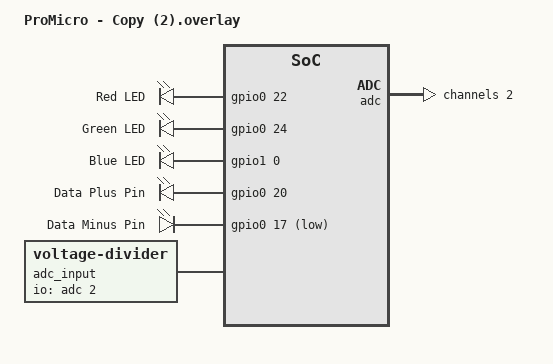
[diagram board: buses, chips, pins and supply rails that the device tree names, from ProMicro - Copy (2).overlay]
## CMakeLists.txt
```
cmake_minimum_required(VERSION 3.20.0)
set(DTC_OVERLAY_FILE "${CMAKE_CURRENT_SOURCE_DIR}/ProMicro.overlay" CACHE STRING "")
find_package(Zephyr REQUIRED HINTS $ENV{ZEPHYR_BASE})

project(Transmitter)

target_sources(app PRIVATE src/main.c)
```

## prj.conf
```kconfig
# Transmitter: SPI slave from RP2040 and ESB PTX to the dongle.
# Release build: no UART/USB CDC logging.
CONFIG_LOG=n
CONFIG_CONSOLE=n
CONFIG_BOOT_BANNER=n
CONFIG_NCS_BOOT_BANNER=n
CONFIG_PRINTK=n
CONFIG_UART_CONSOLE=n
CONFIG_SERIAL=n

# ESB radio link
CONFIG_ESB=y
CONFIG_CLOCK_CONTROL=y
CONFIG_ESB_CLOCK_INIT=y
CONFIG_ESB_PIPE_COUNT=8
CONFIG_ESB_RADIO_IRQ_PRIORITY=0

# Zephyr SPI slave driver on spi1 (DT pinctrl): blocking spi_transceive
# with a fresh reverse-ACK snapshot per transaction (proven MISO path).
CONFIG_SPI=y
CONFIG_NRFX_SPIS=n

# Existing board peripherals
CONFIG_PWM=y
CONFIG_GPIO=y

# Platform
CONFIG_PM_DEVICE=y
CONFIG_POWEROFF=y
CONFIG_SIZE_OPTIMIZATIONS=y
CONFIG_BUILD_OUTPUT_UF2=y
CONFIG_SYSTEM_CLOCK_WAIT_FOR_STABILITY=y
CONFIG_PINCTRL=y
CONFIG_FLASH=y
```

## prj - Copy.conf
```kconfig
CONFIG_LOG=y
CONFIG_ESB=y
CONFIG_ADC=y
CONFIG_GPIO=y
CONFIG_PWM=y
CONFIG_SPI=y
CONFIG_LOG_DEFAULT_LEVEL=3
CONFIG_LOG_BACKEND_UART=y
CONFIG_UART_CONSOLE=y
CONFIG_SERIAL=y
CONFIG_BUILD_OUTPUT_UF2=y
CONFIG_USB_DEVICE_STACK=y
CONFIG_USB_DEVICE_INITIALIZE_AT_BOOT=n
CONFIG_USB_COMPOSITE_DEVICE=n
CONFIG_USB_DEVICE_HID=y
CONFIG_USB_DEVICE_VID=0x1B4F
CONFIG_USB_DEVICE_PID=0x0001  
CONFIG_USB_DEVICE_PRODUCT="A4TECH Transmitter"
CONFIG_USB_DEVICE_MANUFACTURER="Monard"
```

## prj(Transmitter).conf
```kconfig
CONFIG_LOG=y
CONFIG_ESB=y
CONFIG_PWM=y
CONFIG_ADC=y
CONFIG_LOG_DEFAULT_LEVEL=3
CONFIG_LOG_BACKEND_UART=y
CONFIG_UART_CONSOLE=y
CONFIG_SERIAL=y
CONFIG_BUILD_OUTPUT_UF2=y
CONFIG_USB_DEVICE_STACK=y
CONFIG_USB_DEVICE_INITIALIZE_AT_BOOT=n
CONFIG_USB_COMPOSITE_DEVICE=n
CONFIG_USB_DEVICE_HID=y
CONFIG_USB_DEVICE_VID=0x1B4F
CONFIG_USB_DEVICE_PID=0x0001
CONFIG_USB_DEVICE_PRODUCT="A4TECH Transmitter"
CONFIG_USB_DEVICE_MANUFACTURER="Monard"
```

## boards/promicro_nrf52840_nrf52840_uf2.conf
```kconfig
# Release firmware has no CDC debug console.
CONFIG_BOARD_SERIAL_BACKEND_CDC_ACM=n
```

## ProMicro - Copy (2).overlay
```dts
/ {
    gpio-leds {
        compatible = "gpio-leds";
        red_led: red {
            gpios = <&gpio0 22 (GPIO_ACTIVE_HIGH | GPIO_PULL_UP)>;
            label = "Red LED";
        };
        green_led: green {
            gpios = <&gpio0 24 (GPIO_ACTIVE_HIGH | GPIO_PULL_UP)>;
            label = "Green LED";
        };
        blue_led: blue {
            gpios = <&gpio1 0 (GPIO_ACTIVE_HIGH | GPIO_PULL_UP)>;
            label = "Blue LED";
        };
        data_plus_pin: datapluspin {
            gpios = <&gpio0 20 (GPIO_ACTIVE_HIGH)>;
            label = "Data Plus Pin";
        };

        data_minus_pin: dataminuspin {
            gpios = <&gpio0 17 (GPIO_PULL_DOWN | GPIO_ACTIVE_LOW)>;
            label = "Data Minus Pin";
        };
    };
        adc_input: adc-input {
            compatible = "voltage-divider";
            io-channels = <&adc 2>;
            output-ohms = <100000>;
            full-ohms = <1100000>;
        };
 
     /* Define aliases to refer to the nodes above */
    aliases {
        //datapluspin = &data_plus_pin;
        //dataminuspin = &data_minus_pin;
        led-red = &red_led;
        led-green = &green_led;
        led-blue = &blue_led;
        batteryadc = &adc_input;
    };
};
&adc {
    status = "okay";
    #address-cells = <1>;
    #size-cells = <0>;
    
    channel@2 {
        reg = <2>;
        zephyr,gain = "ADC_GAIN_1_6";
        zephyr,reference = "ADC_REF_INTERNAL";
        zephyr,acquisition-time = <ADC_ACQ_TIME_DEFAULT>;
        zephyr,vref-mv = <600>;
        zephyr,input-positive = <2>;  // R1
        zephyr,resolution = <12>; // 12-bit resolution
    };
};
&gpio0 {
    status = "okay";
};
&gpio1 {
    status = "okay";
};
&cryptocell {
    status = "disabled";
};

&acl {
    zephyr,deferred-init;
    status = "disabled";
};


&spi3 {
    status = "disabled";
    pinctrl-0 = <&spi3_default>;
    pinctrl-names = "default";
};

&pinctrl {
    spi3_default: spi3_default {
        group1 {
            psels = <NRF_PSEL(SPIM_SCK, 0, 31)>, <NRF_PSEL(SPIM_MOSI, 0, 17)>;
        };

        group2 {
            psels = <NRF_PSEL(SPIM_MISO, 0, 20)>;
            nordic,drive-mode = <NRF_DRIVE_H0S1>;
        };
    };
};
```

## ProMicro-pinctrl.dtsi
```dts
/*
 * Copyright (c) 2022 Nordic Semiconductor
 * SPDX-License-Identifier: Apache-2.0
 */

&pinctrl {
	uart0_default: uart0_default {
		group1 {
			psels = <NRF_PSEL(UART_TX, 0, 20)>,
				<NRF_PSEL(UART_RTS, 0, 17)>;
		};
		group2 {
			psels = <NRF_PSEL(UART_RX, 0, 24)>,
				<NRF_PSEL(UART_CTS, 0, 22)>;
			bias-pull-up;
		};
	};

	uart0_sleep: uart0_sleep {
		group1 {
			psels = <NRF_PSEL(UART_TX, 0, 20)>,
				<NRF_PSEL(UART_RX, 0, 24)>,
				<NRF_PSEL(UART_RTS, 0, 17)>,
				<NRF_PSEL(UART_CTS, 0, 22)>;
			low-power-enable;
		};
	};

	i2c0_default: i2c0_default {
		group1 {
			psels = <NRF_PSEL(TWIM_SDA, 0, 26)>,
				<NRF_PSEL(TWIM_SCL, 0, 27)>;
		};
	};

	i2c0_sleep: i2c0_sleep {
		group1 {
			psels = <NRF_PSEL(TWIM_SDA, 0, 26)>,
				<NRF_PSEL(TWIM_SCL, 0, 27)>;
			low-power-enable;
		};
	};

	i2c1_default: i2c1_default {
		group1 {
			psels = <NRF_PSEL(TWIM_SDA, 0, 30)>,
				<NRF_PSEL(TWIM_SCL, 0, 31)>;
		};
	};

	i2c1_sleep: i2c1_sleep {
		group1 {
			psels = <NRF_PSEL(TWIM_SDA, 0, 30)>,
				<NRF_PSEL(TWIM_SCL, 0, 31)>;
			low-power-enable;
		};
	};

	pwm0_default: pwm0_default {
		group1 {
			psels = <NRF_PSEL(PWM_OUT0, 0, 8)>,
				<NRF_PSEL(PWM_OUT1, 1, 9)>,
				<NRF_PSEL(PWM_OUT2, 0, 12)>;
			nordic,invert;
		};
	};

	pwm0_sleep: pwm0_sleep {
		group1 {
			psels = <NRF_PSEL(PWM_OUT0, 0, 8)>,
				<NRF_PSEL(PWM_OUT1, 1, 9)>,
				<NRF_PSEL(PWM_OUT2, 0, 12)>;
			low-power-enable;
		};
	};

	spi0_default: spi0_default {
		group1 {
			psels = <NRF_PSEL(SPIM_SCK, 0, 27)>,
				<NRF_PSEL(SPIM_MOSI, 0, 26)>,
				<NRF_PSEL(SPIM_MISO, 1, 10)>;
		};
	};

	spi0_sleep: spi0_sleep {
		group1 {
			psels = <NRF_PSEL(SPIM_SCK, 0, 27)>,
				<NRF_PSEL(SPIM_MOSI, 0, 26)>,
				<NRF_PSEL(SPIM_MISO, 1, 10)>;
			low-power-enable;
		};
	};

	spi1_default: spi1_default {
		group1 {
			psels = <NRF_PSEL(SPIM_SCK, 0, 31)>,
				<NRF_PSEL(SPIM_MOSI, 0, 30)>,
				<NRF_PSEL(SPIM_MISO, 1, 13)>;
		};
	};

	spi1_sleep: spi1_sleep {
		group1 {
			psels = <NRF_PSEL(SPIM_SCK, 0, 31)>,
				<NRF_PSEL(SPIM_MOSI, 0, 30)>,
				<NRF_PSEL(SPIM_MISO, 1, 13)>;
			low-power-enable;
		};
	};
	spi3_default: spi1_default {
		group1 {
			psels = <NRF_PSEL(SPIM_SCK, 0, 31)>,
				<NRF_PSEL(SPIM_MOSI, 0, 30)>,
				<NRF_PSEL(SPIM_MISO, 1, 13)>;
		};
	};

	spi3_sleep: spi1_sleep {
		group1 {
			psels = <NRF_PSEL(SPIM_SCK, 0, 31)>,
				<NRF_PSEL(SPIM_MOSI, 0, 30)>,
				<NRF_PSEL(SPIM_MISO, 1, 13)>;
			low-power-enable;
		};
	};

};
```

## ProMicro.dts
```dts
/*
 * Copyright (c) 2018-2023 Nordic Semiconductor ASA
 * Copyright (c) 2017 Linaro Limited
 *
 * SPDX-License-Identifier: Apache-2.0
 */

/dts-v1/;
#include <nordic/nrf52840_qiaa.dtsi>
#include "nrf52840dongle_nrf52840-pinctrl.dtsi"
#include <zephyr/dt-bindings/input/input-event-codes.h>

/ {
	model = "Nordic nRF52840 Dongle NRF52840";
	compatible = "nordic,nrf52840-dongle-nrf52840";

	chosen {
		zephyr,sram = &sram0;
		zephyr,flash = &flash0;
		zephyr,code-partition = &slot0_partition;
		zephyr,ieee802154 = &ieee802154;
	};

	/* leds {
		compatible = "gpio-leds";
		led0_green: led_0 {
			gpios = <&gpio0 6 GPIO_ACTIVE_LOW>;
			label = "Green LED 0";
		};
		led1_red: led_1 {
			gpios = <&gpio0 8 GPIO_ACTIVE_LOW>;
			label = "Red LED 1";
		};
		led1_green: led_2 {
			gpios = <&gpio1 9 GPIO_ACTIVE_LOW>;
			label = "Green LED 1";
		};
		led1_blue: led_3 {
			gpios = <&gpio0 12 GPIO_ACTIVE_LOW>;
			label = "Blue LED 1";
		};
	};  */

	pwmleds {
		compatible = "pwm-leds";
		red_pwm_led: pwm_led_0 {
			pwms = <&pwm0 0 PWM_MSEC(20) PWM_POLARITY_NORMAL>;
		};
		green_pwm_led: pwm_led_1 {
			pwms = <&pwm0 1 PWM_MSEC(20) PWM_POLARITY_NORMAL>;
		};
		blue_pwm_led: pwm_led_2 {
			pwms = <&pwm0 2 PWM_MSEC(20) PWM_POLARITY_NORMAL>;
		};
	};

	buttons {
		compatible = "gpio-keys";
		button0: button_0 {
			gpios = <&gpio1 6 (GPIO_PULL_UP | GPIO_ACTIVE_LOW)>;
			label = "Push button switch 0";
			zephyr,code = <INPUT_KEY_0>;
		};
	};

	/* These aliases are provided for compatibility with samples */
/* 	aliases {
		sw0 = &button0;
		led0 = &led0_green;
		led1 = &led1_red;
		led2 = &led1_green;
		led3 = &led1_blue;
		led0-green = &led0_green;
		led1-red   = &led1_red;
		led1-green = &led1_green;
		led1-blue  = &led1_blue; 
		pwm-led0 = &red_pwm_led;
		pwm-led1 = &green_pwm_led;
		pwm-led2 = &blue_pwm_led;
		red-pwm-led = &red_pwm_led;
		green-pwm-led = &green_pwm_led;
		blue-pwm-led = &blue_pwm_led;
		mcuboot-button0 = &button0;
		mcuboot-led0 = &led0_green;
		watchdog0 = &wdt0;
	}; */
};

&reg0 {
	status = "okay";
};

&reg1 {
	regulator-initial-mode = <NRF5X_REG_MODE_DCDC>;
};

&adc {
	status = "okay";
};

&gpiote {
	status = "okay";
};

&uicr {
	nfct-pins-as-gpios;
	gpio-as-nreset;
};

&gpio0 {
	status = "okay";
};

&gpio1 {
	status = "okay";
};

&uart0 {
	compatible = "nordic,nrf-uarte";
	status = "okay";
	current-speed = <115200>;
	pinctrl-0 = <&uart0_default>;
	pinctrl-1 = <&uart0_sleep>;
	pinctrl-names = "default", "sleep";
};

&i2c0 {
	compatible = "nordic,nrf-twi";
	status = "okay";
	pinctrl-0 = <&i2c0_default>;
	pinctrl-1 = <&i2c0_sleep>;
	pinctrl-names = "default", "sleep";
};

&i2c1 {
	compatible = "nordic,nrf-twi";
	/* Cannot be used together with spi1. */
	/* status = "okay"; */
	pinctrl-0 = <&i2c1_default>;
	pinctrl-1 = <&i2c1_sleep>;
	pinctrl-names = "default", "sleep";
};

&pwm0 {
	status = "okay";
	pinctrl-0 = <&pwm0_default>;
	pinctrl-1 = <&pwm0_sleep>;
	pinctrl-names = "default", "sleep";
};
 &adc {
    status = "okay";
    #address-cells = <1>;
    #size-cells = <0>;
    
    channel@2 {
        reg = <2>;
        zephyr,gain = "ADC_GAIN_1_4";
        zephyr,reference = "ADC_REF_INTERNAL";
        zephyr,acquisition-time = <ADC_ACQ_TIME_DEFAULT>;
        zephyr,resolution = <12>; // 14-bit resolution
        //zephyr,oversampling = <6>;
        zephyr,input-positive = <2>;
    };
}; 

/*
 * By default, not adding all available SPI instances (spi2, spi3) due to
 * limited GPIOs available on dongle board.
 */
&spi0 {
	compatible = "nordic,nrf-spi";
	/* Cannot be used together with i2c0. */
	/* status = "okay"; */
	pinctrl-0 = <&spi0_default>;
	pinctrl-1 = <&spi0_sleep>;
	pinctrl-names = "default", "sleep";
};

&spi1 {
	compatible = "nordic,nrf-spi";
	status = "okay";
	pinctrl-0 = <&spi1_default>;
	pinctrl-1 = <&spi1_sleep>;
	pinctrl-names = "default", "sleep";
};

&spi3 {
    status = "okay";
    pinctrl-0 = <&spi3_default>;
    pinctrl-names = "default";
    wakeup-source;
};

&ieee802154 {
	status = "okay";
};

/* Include flash partition table.
 * Two partition tables are available:
 * fstab-stock		-compatible with Nordic nRF5 bootloader, default
 * fstab-debugger	-to use an external debugger, w/o the nRF5 bootloader
 */
#include "fstab-stock.dtsi"

zephyr_udc0: &usbd {
	compatible = "nordic,nrf-usbd";
	status = "okay";
};

#include <../boards/common/usb/cdc_acm_serial.dtsi>
```

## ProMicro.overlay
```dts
/*
 * Pro Micro nRF52840 overlay — Wireless Keyboard Transmitter
 * Adds: SPIS1 (SPI slave on instance 1), battery ADC channel, 3-channel RGB PWM
 * Disables: USB (not used by this SPI+ESB project)
 */

#include <zephyr/dt-bindings/adc/adc.h>

/* The transmitter USB port is a CDC ACM debug console. */
&usbd {
	status = "okay";
};

/* Overwrite board's single-channel pwm0 pinctrl with 3-channel RGB */
&pinctrl {
	pwm0_default: pwm0_default {
		group1 {
			psels = <NRF_PSEL(PWM_OUT0, 0, 24)>,  /* P0.24 Red   */
				<NRF_PSEL(PWM_OUT1, 1, 0)>,   /* P1.00 Green */
				<NRF_PSEL(PWM_OUT2, 0, 11)>;  /* P0.11 Blue  */
		};
	};

	pwm0_sleep: pwm0_sleep {
		group1 {
			psels = <NRF_PSEL(PWM_OUT0, 0, 24)>,
				<NRF_PSEL(PWM_OUT1, 1, 0)>,
				<NRF_PSEL(PWM_OUT2, 0, 11)>;
			low-power-enable;
		};
	};

	/* SPI slave pinctrl — pins match RP2040 SPI master wiring:
	 *   SCK  = P0.17  (RP2040 GP6)
	 *   MOSI = P0.20  (RP2040 GP7)
	 *   CSN  = P0.22  (RP2040 GP9)  <-- hardware chip-select, frames the transfer
	 *   MISO = P0.08  (RP2040 GP8, unused/write-only link, just parked here)
	 *
	 * IMPORTANT: nRF52840 instance 3 (0x4002F000) is SPIM3-only — NO SPIS support.
	 * We use SPIS1 (instance 1, 0x40004000) instead. i2c1 is disabled below
	 * to free the shared instance.
	 */
	spis1_default: spis1_default {
		group1 {
			psels = <NRF_PSEL(SPIS_SCK, 0, 17)>,
				<NRF_PSEL(SPIS_MOSI, 0, 20)>,
				<NRF_PSEL(SPIS_MISO, 0, 8)>,
				<NRF_PSEL(SPIS_CSN, 0, 22)>;
		};
	};

	spis1_sleep: spis1_sleep {
		group1 {
			psels = <NRF_PSEL(SPIS_SCK, 0, 17)>,
				<NRF_PSEL(SPIS_MOSI, 0, 20)>,
				<NRF_PSEL(SPIS_MISO, 0, 8)>,
				<NRF_PSEL(SPIS_CSN, 0, 22)>;
			low-power-enable;
		};
	};
};

/* Disable i2c1 to free shared instance 1 for SPIS1.
	 * This project does not use I2C1. */
&i2c1 {
	status = "disabled";
};

/* SPIS1 slave — instance 1 (0x40004000) supports SPIS, unlike SPIM3.
	 * Same physical pins as before (PSEL routes any GPIO to any instance). */
&spi1 {
	compatible = "nordic,nrf-spis";
	status = "okay";
	pinctrl-0 = <&spis1_default>;
	pinctrl-1 = <&spis1_sleep>;
	pinctrl-names = "default", "sleep";
	def-char = <0x00>;
};

/* Battery voltage divider: Vbat -> 200kΩ -> ADC AIN0 -> 100kΩ -> GND
 * AIN0 = P0.02 (SAADC CH0, positive input 0)
 * Divider ratio: 200k/(200k+100k) = 2/3, so output_ohms/full_ohms = 200k/300k
 */
&adc {
	status = "okay";
	#address-cells = <1>;
	#size-cells = <0>;
	channel@0 {
		reg = <0>;
		zephyr,gain = "ADC_GAIN_1_6";
		zephyr,reference = "ADC_REF_VDD_1_4";
		zephyr,acquisition-time = <ADC_ACQ_TIME_DEFAULT>;
		zephyr,resolution = <10>;
		zephyr,oversampling = <0>;
		zephyr,input-positive = <0>;
		zephyr,vref-mv = <3300>;   /* required for VDD-relative reference to convert correctly */
	};
};

/ {
	/* RGB PWM LED node (used by pwm_dt_spec in main.c) */
	pwmleds {
		compatible = "pwm-leds";
		red_pwm: pwm_led_0 {
			pwms = <&pwm0 0 PWM_MSEC(20) PWM_POLARITY_NORMAL>;
			label = "Red PWM LED";
		};
		green_pwm: pwm_led_1 {
			pwms = <&pwm0 1 PWM_MSEC(20) PWM_POLARITY_NORMAL>;
			label = "Green PWM LED";
		};
		blue_pwm: pwm_led_2 {
			pwms = <&pwm0 2 PWM_MSEC(20) PWM_POLARITY_NORMAL>;
			label = "Blue PWM LED";
		};
	};

	/* Battery voltage divider for io-channels */
	vbatt: vbatt {
		compatible = "voltage-divider";
		io-channels = <&adc 0>;
		output-ohms = <200000>;   /* 200kΩ high-side */
		full-ohms = <300000>;      /* 200k + 100k total */
	};

	aliases {
		/* Keep board aliases, add battery */
		battery = &vbatt;
	};
};
```

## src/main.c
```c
/*
 * Copyright (c) 2024 Monard2033
 * SPDX-License-Identifier: Apache-2.0
 *
 * Minimal transparent bridge:
 *   complete 12-byte SPI frame -> unchanged ESB frame -> hardware ACK.
 *
 * The SPI slave layer uses the Zephyr spi_transceive driver with a fresh
 * reverse-ACK snapshot armed before every transaction. This is the reverse
 * (MISO) mechanism hardware-proven during the August 19 OTA sessions; the
 * direct-nrfx double-buffered rewrite never clocked a single byte onto MISO
 * (see the RP2040 [MISO] witness capture, 2026-08-22).
 */

#include <errno.h>
#include <string.h>

#include <esb.h>
#include <hal/nrf_gpio.h>
#include <nrfx.h>
#include <zephyr/device.h>
#include <zephyr/drivers/spi.h>
#include <zephyr/kernel.h>
#include <zephyr/logging/log.h>
#include <zephyr/sys/atomic.h>
#include <zephyr/sys/poweroff.h>
#include <zephyr/sys/util.h>

LOG_MODULE_REGISTER(transmitter, LOG_LEVEL_INF);

#define LINK_MAGIC           0xA5U
#define LINK_VERSION         0x03U
#define LINK_FRAME_SIZE      12U
#define LINK_TYPE_CONTROL    0x03U
#define LINK_TYPE_DFU_STATUS 0x13U
#define LINK_CONTROL_SYSTEM_OFF 0x01U
#define LINK_CONTROL_POLL_ACK   0x02U
#define LINK_ACK_MAGIC       0x5AU
#define LINK_ACK_TYPE_DFU    0x02U
#define LINK_RF_CHANNEL      90U
/* DFU OTA command range (0x10..0x1F). DFU frames are strictly ordered,
 * opaque protocol data owned by the RP2040 DFU handler; the RP2040 already
 * replays the stored reply for redelivered commands, so suppressing a
 * repeated DFU frame here would silently corrupt the OTA staging stream. */
#define LINK_TYPE_DFU_FIRST  0x10U
#define LINK_TYPE_DFU_LAST   0x1FU
#define REPORT_QUEUE_DEPTH   256U
#define ESB_EVENT_TIMEOUT_US 15000U
#define RETRY_BACKOFF_US     50U
#define ESB_MAX_TX_RETRIES   5U
#define RETRY_BACKOFF_MS     1U
#define POWEROFF_DRAIN_TIMEOUT_MS 50U
#define FALLBACK_IDLE_TIMEOUT_MS (5U * 60U * 1000U)
#define SPI_CSN_PIN          NRF_GPIO_PIN_MAP(0, 22)
#define CSN_SETTLE_TIMEOUT_MS 50U

struct link_frame {
	uint8_t magic;
	uint8_t version;
	uint8_t type;
	uint8_t sequence;
	uint8_t data[8];
} __packed;

BUILD_ASSERT(sizeof(struct link_frame) == LINK_FRAME_SIZE);

K_MSGQ_DEFINE(report_queue, sizeof(struct link_frame), REPORT_QUEUE_DEPTH,
	      sizeof(uint32_t));
K_MSGQ_DEFINE(dfu_miso_queue, sizeof(struct link_frame), 64, 4);
static K_SEM_DEFINE(esb_tx_done, 0, 1);
static K_SEM_DEFINE(esb_started, 0, 1);
static K_SEM_DEFINE(poweroff_requested, 0, 1);

static struct esb_config esb_config = ESB_DEFAULT_CONFIG;
static struct esb_payload esb_tx_payload;
static struct esb_payload esb_rx_payload;
static atomic_t esb_last_tx_succeeded;

static struct k_spinlock spi_ack_lock;
static struct link_frame spi_ack_response __aligned(4) = {
	.magic = LINK_ACK_MAGIC,
	.version = LINK_VERSION,
};

static atomic_t spi_frames;
static atomic_t spi_errors;
static atomic_t spi_duplicates;
static atomic_t report_queue_overruns;
static atomic_t esb_tx_successes;
static atomic_t esb_tx_failures;
static atomic_t esb_tx_timeouts;
static atomic_t esb_tx_dropped;
static atomic_t radio_frame_in_flight;
static atomic_t poweroff_pending;
static atomic_t last_spi_activity_uptime_ms;

static struct link_frame last_spi_frame;
static bool last_spi_frame_valid;

static const struct device *const spi_device = DEVICE_DT_GET(DT_NODELABEL(spi1));
static const struct spi_config spi_slave_config = {
	.operation = SPI_OP_MODE_SLAVE | SPI_WORD_SET(8) | SPI_TRANSFER_MSB,
	.slave = 0,
};

static void transmitter_esb_event_handler(const struct esb_evt *event)
{
	switch (event->evt_id) {
	case ESB_EVENT_TX_SUCCESS:
		atomic_set(&esb_last_tx_succeeded, 1);
		atomic_inc(&esb_tx_successes);
		k_sem_give(&esb_tx_done);
		break;
	case ESB_EVENT_TX_FAILED:
		atomic_set(&esb_last_tx_succeeded, 0);
		atomic_inc(&esb_tx_failures);
		k_sem_give(&esb_tx_done);
		break;
	case ESB_EVENT_RX_RECEIVED:
		while (esb_read_rx_payload(&esb_rx_payload) == 0) {
			struct link_frame ack;

			if (esb_rx_payload.length != sizeof(ack)) {
				continue;
			}

			memcpy(&ack, esb_rx_payload.data, sizeof(ack));
			if (ack.magic != LINK_ACK_MAGIC ||
			    ack.version != LINK_VERSION) {
				continue;
			}

			if (ack.type == LINK_ACK_TYPE_DFU) {
				k_msgq_put(&dfu_miso_queue, &ack, K_NO_WAIT);
			} else {
				k_spinlock_key_t key = k_spin_lock(&spi_ack_lock);
				memcpy(&spi_ack_response, &ack, sizeof(ack));
				k_spin_unlock(&spi_ack_lock, key);
			}
		}
		break;
	default:
		break;
	}
}

static void spi_ack_snapshot(struct link_frame *output)
{
	if (k_msgq_get(&dfu_miso_queue, output, K_NO_WAIT) == 0) {
		return;
	}

	k_spinlock_key_t key = k_spin_lock(&spi_ack_lock);
	memcpy(output, &spi_ack_response, sizeof(*output));
	k_spin_unlock(&spi_ack_lock, key);
}

static int esb_initialize(void)
{
	static const uint8_t base_address_0[4] = {
		0xE7, 0xE7, 0xE7, 0xE7
	};
	static const uint8_t base_address_1[4] = {
		0xC2, 0xC2, 0xC2, 0xC2
	};
	static const uint8_t address_prefixes[8] = {
		0xE7, 0xC2, 0xC3, 0xC4, 0xC5, 0xC6, 0xC7, 0xC8
	};
	int err;

	esb_config.protocol = ESB_PROTOCOL_ESB_DPL;
	esb_config.mode = ESB_MODE_PTX;
	esb_config.bitrate = ESB_BITRATE_2MBPS;
	esb_config.tx_output_power = ESB_TX_POWER_8DBM;
	esb_config.retransmit_delay = 450;
	esb_config.retransmit_count = 6;
	esb_config.payload_length = sizeof(struct link_frame);
	esb_config.selective_auto_ack = true;
	esb_config.use_fast_ramp_up = true;
	esb_config.event_handler = transmitter_esb_event_handler;

	err = esb_init(&esb_config);
	if (err != 0) return err;
	err = esb_set_base_address_0(base_address_0);
	if (err != 0) return err;
	err = esb_set_base_address_1(base_address_1);
	if (err != 0) return err;
	err = esb_set_prefixes(address_prefixes, ARRAY_SIZE(address_prefixes));
	if (err != 0) return err;
	return esb_set_rf_channel(LINK_RF_CHANNEL);
}

static int esb_send_once(const struct link_frame *frame)
{
	k_sem_reset(&esb_tx_done);
	atomic_set(&esb_last_tx_succeeded, 0);
	esb_flush_tx();

	esb_tx_payload.length = sizeof(*frame);
	esb_tx_payload.pipe = 0;
	esb_tx_payload.noack = false;
	memcpy(esb_tx_payload.data, frame, sizeof(*frame));

	int err = esb_write_payload(&esb_tx_payload);
	if (err != 0) return err;

	err = k_sem_take(&esb_tx_done, K_USEC(ESB_EVENT_TIMEOUT_US));
	if (err != 0) {
		atomic_inc(&esb_tx_timeouts);
		esb_flush_tx();
		return -ETIMEDOUT;
	}
	return atomic_get(&esb_last_tx_succeeded) != 0 ? 0 : -EIO;
}

static void radio_thread(void)
{
	struct link_frame frame;

	k_sem_take(&esb_started, K_FOREVER);
	for (;;) {
		k_msgq_get(&report_queue, &frame, K_FOREVER);
		if (atomic_get(&poweroff_pending) != 0) {
			atomic_inc(&esb_tx_dropped);
			continue;
		}

		atomic_set(&radio_frame_in_flight, 1);

		/* Bounded retry loop: max ESB_MAX_TX_RETRIES attempts (each attempt includes
		 * 6 ESB hardware retransmits). If Receiver is disconnected or unreachable,
		 * drop frame after max attempts to prevent 100% CPU lock and battery drain. */
		uint32_t retries = 0;
		while (esb_send_once(&frame) != 0) {
			retries++;
			if (retries >= ESB_MAX_TX_RETRIES ||
			    atomic_get(&poweroff_pending) != 0) {
				atomic_inc(&esb_tx_dropped);
				break;
			}
			k_sleep(K_MSEC(RETRY_BACKOFF_MS));
		}
		atomic_set(&radio_frame_in_flight, 0);
	}
}

K_THREAD_DEFINE(radio_thread_id, 1536, radio_thread,
		NULL, NULL, NULL, 5, 0, 0);

/* SPI slave thread: one blocking transaction at a time, arming a FRESH
 * reverse-ACK snapshot before each one so the RP2040 reads the newest LED
 * or DFU state on the very next transfer. This mirrors the hardware-proven
 * August 19 mechanism. */
static void spi_slave_thread(void)
{
	static struct link_frame spi_tx __aligned(4);
	static struct link_frame spi_rx __aligned(4);

	for (;;) {
		spi_ack_snapshot(&spi_tx);

		struct spi_buf tx_buffer = {
			.buf = &spi_tx,
			.len = sizeof(spi_tx),
		};
		const struct spi_buf_set tx = {
			.buffers = &tx_buffer,
			.count = 1,
		};
		struct spi_buf rx_buffer = {
			.buf = &spi_rx,
			.len = sizeof(spi_rx),
		};
		const struct spi_buf_set rx = {
			.buffers = &rx_buffer,
			.count = 1,
		};

		memset(&spi_rx, 0, sizeof(spi_rx));
		int err = spi_transceive(spi_device, &spi_slave_config, &tx, &rx);
		if (err < 0) {
			atomic_inc(&spi_errors);
			k_yield();
			continue;
		}

		/* Zephyr slave mode returns the number of received 8-bit frames. */
		if (err != sizeof(spi_rx)) {
			atomic_inc(&spi_errors);
			continue;
		}

		if (spi_rx.magic != LINK_MAGIC ||
		    spi_rx.version != LINK_VERSION) {
			atomic_inc(&spi_errors);
			continue;
		}

		atomic_set(&last_spi_activity_uptime_ms, (atomic_val_t)k_uptime_get_32());

		/* DFU commands are never suppressed: the RP2040 DFU handler owns
		 * all replay/duplicate policy for the OTA stream. */
		if (spi_rx.type >= LINK_TYPE_DFU_FIRST &&
		    spi_rx.type <= LINK_TYPE_DFU_LAST) {
			if (k_msgq_put(&report_queue, &spi_rx, K_NO_WAIT) != 0) {
				atomic_inc(&report_queue_overruns);
				continue;
			}
			memcpy(&last_spi_frame, &spi_rx, sizeof(spi_rx));
			last_spi_frame_valid = true;
			atomic_inc(&spi_frames);
			continue;
		}

		if (last_spi_frame_valid &&
		    memcmp(&spi_rx, &last_spi_frame, sizeof(spi_rx)) == 0) {
			/* RP2040 safety copy with the same sequence: suppress
			 * before ESB; HID semantics remain untouched. */
			atomic_inc(&spi_duplicates);
			continue;
		}

		if (spi_rx.type == LINK_TYPE_CONTROL &&
		    spi_rx.data[0] == LINK_CONTROL_SYSTEM_OFF) {
			memcpy(&last_spi_frame, &spi_rx, sizeof(spi_rx));
			last_spi_frame_valid = true;
			atomic_inc(&spi_frames);
			atomic_set(&poweroff_pending, 1);
			k_sem_give(&poweroff_requested);
			continue;
		}

		if (k_msgq_put(&report_queue, &spi_rx, K_NO_WAIT) != 0) {
			atomic_inc(&report_queue_overruns);
			continue;
		}
		memcpy(&last_spi_frame, &spi_rx, sizeof(spi_rx));
		last_spi_frame_valid = true;
		atomic_inc(&spi_frames);
	}
}

K_THREAD_DEFINE(spi_slave_thread_id, 2048, spi_slave_thread,
		NULL, NULL, NULL, 4, 0, 0);

#if CONFIG_LOG
static void status_thread(void)
{
	for (;;) {
		k_sleep(K_SECONDS(5));
		LOG_INF("SPI=%ld err=%ld duplicates=%ld queue_full=%ld ESB_ok=%ld fail=%ld timeout=%ld dropped=%ld",
			(long)atomic_get(&spi_frames),
			(long)atomic_get(&spi_errors),
			(long)atomic_get(&spi_duplicates),
			(long)atomic_get(&report_queue_overruns),
			(long)atomic_get(&esb_tx_successes),
			(long)atomic_get(&esb_tx_failures),
			(long)atomic_get(&esb_tx_timeouts),
			(long)atomic_get(&esb_tx_dropped));
	}
}

K_THREAD_DEFINE(status_thread_id, 1024, status_thread,
		NULL, NULL, NULL, 7, 0, 0);
#endif

int main(void)
{
	int err = esb_initialize();
	if (err != 0) return err;

	if (!device_is_ready(spi_device)) {
		LOG_ERR("SPI slave device is not ready");
		return -ENODEV;
	}
	atomic_set(&last_spi_activity_uptime_ms, (atomic_val_t)k_uptime_get_32());
	k_sem_give(&esb_started);

	for (;;) {
		int ret = k_sem_take(&poweroff_requested, K_SECONDS(1));
		if (ret != 0) {
			/* No explicit poweroff requested: check fallback idle timeout (5 minutes) */
			uint32_t now = k_uptime_get_32();
			uint32_t last = (uint32_t)atomic_get(&last_spi_activity_uptime_ms);
			if ((now - last) >= FALLBACK_IDLE_TIMEOUT_MS) {
				LOG_INF("Fallback idle timeout expired (%u ms without SPI activity); entering System OFF",
					FALLBACK_IDLE_TIMEOUT_MS);
				atomic_set(&poweroff_pending, 1);
			} else {
				continue;
			}
		}

		if (atomic_get(&poweroff_pending) == 0) {
			continue;
		}

		/* Give RP2040's same-sequence SPI safety copy time to complete, then
		 * wait only for already-accepted urgent ESB traffic up to POWEROFF_DRAIN_TIMEOUT_MS. */
		k_sleep(K_MSEC(2));
		int64_t drain_start = k_uptime_get();
		while ((k_msgq_num_used_get(&report_queue) != 0U ||
		        atomic_get(&radio_frame_in_flight) != 0) &&
		       (k_uptime_get() - drain_start < (int64_t)POWEROFF_DRAIN_TIMEOUT_MS)) {
			k_sleep(K_MSEC(1));
		}

		/* If timeout hit, force purge queue and clear in-flight flag to prevent deadlock */
		if (k_msgq_num_used_get(&report_queue) != 0U ||
		    atomic_get(&radio_frame_in_flight) != 0) {
			LOG_WRN("Poweroff drain timeout (%u ms) expired; purging queue and forcing radio release",
				POWEROFF_DRAIN_TIMEOUT_MS);
			k_msgq_purge(&report_queue);
			atomic_set(&radio_frame_in_flight, 0);
		}

		/* Check CSN pin (P0.22) state before arming SENSE_LOW to prevent instant wake-up loop.
		 * If RP2040 is holding CSN LOW, wait up to CSN_SETTLE_TIMEOUT_MS for it to return HIGH. */
		nrf_gpio_cfg_input(SPI_CSN_PIN, NRF_GPIO_PIN_PULLUP);
		uint32_t csn_wait_ms = 0;
		while (nrf_gpio_pin_read(SPI_CSN_PIN) == 0) {
			k_sleep(K_MSEC(1));
			csn_wait_ms++;
			if (csn_wait_ms >= CSN_SETTLE_TIMEOUT_MS) {
				LOG_WRN("CSN (P0.22) held LOW for >%u ms; aborting poweroff to prevent wake loop",
					CSN_SETTLE_TIMEOUT_MS);
				break;
			}
		}

		if (nrf_gpio_pin_read(SPI_CSN_PIN) == 0) {
			LOG_ERR("CSN pin still LOW; cancelling poweroff");
			atomic_set(&poweroff_pending, 0);
			continue;
		}

		esb_disable();

		/* Final verification of CSN level prior to entering System OFF */
		if (nrf_gpio_pin_read(SPI_CSN_PIN) == 0) {
			LOG_WRN("CSN went LOW immediately before poweroff; re-enabling ESB");
			atomic_set(&poweroff_pending, 0);
			esb_initialize();
			continue;
		}

		nrf_gpio_cfg_sense_input(SPI_CSN_PIN,
					 NRF_GPIO_PIN_PULLUP,
					 NRF_GPIO_PIN_SENSE_LOW);
		LOG_INF("Transmitter entering System OFF (sense wake on CSN LOW)");
		sys_poweroff();
	}
}
```

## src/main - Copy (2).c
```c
/*
 * Copyright (c) 2024 Monard2033
 * SPDX-License-Identifier: Apache-2.0
 */

#include <zephyr/kernel.h>
#include <zephyr/drivers/gpio.h>
#include <zephyr/pm/pm.h>
#include <zephyr/pm/device.h>
#include <zephyr/pm/state.h>
#include <zephyr/pm/policy.h>
#include <zephyr/logging/log.h>
#include <zephyr/device.h>
#include <esb.h>
#include <zephyr/sys_clock.h>
#include <string.h>
#include <nrfx.h>
#include <zephyr/drivers/adc.h>
#include <zephyr/usb/usb_device.h>
#include <zephyr/usb/class/usb_hid.h>

LOG_MODULE_REGISTER(transmitter, LOG_LEVEL_INF);

void sample_and_transmit(struct esb_evt const *event);
void enter_low_power(struct k_timer *dummy);
void update_sleep_timeout(void);
void led_timer_handler(struct k_timer *timer);
void check_battery_status(void);
void battery_warning_timer_handler(struct k_timer *timer);
void battery_pulse_timer_handler(struct k_timer *timer);
static void charging_pulse_timer_handler(struct k_timer *timer);
static void usb_status_cb(enum usb_dc_status_code status, const uint8_t *param);
static const struct device *hid_dev;

/* --- LED and Timer Definitions --- */


/* --- LED Definitions --- */

static const struct gpio_dt_spec data_plus = GPIO_DT_SPEC_GET(DT_N_NODELABEL_data_plus_pin,gpios);
static const struct gpio_dt_spec data_minus = GPIO_DT_SPEC_GET(DT_N_NODELABEL_data_minus_pin,gpios);
static const struct adc_dt_spec adc_channel = ADC_DT_SPEC_GET(DT_PATH(adc_input));
static const struct gpio_dt_spec red_led = GPIO_DT_SPEC_GET(DT_N_NODELABEL_red_led,gpios);
static const struct gpio_dt_spec green_led = GPIO_DT_SPEC_GET(DT_N_NODELABEL_green_led,gpios);
static const struct gpio_dt_spec blue_led = GPIO_DT_SPEC_GET(DT_N_NODELABEL_blue_led,gpios);

enum led_color
{
    LED_RED,
    LED_GREEN,
    LED_BLUE,
    LED_OFF,
    LED_YELLOW,
    LED_ORANGE
};
void set_led_status(enum led_color color) {
    gpio_pin_set_dt(&red_led, (color == LED_RED) ? 1 : 0);
    gpio_pin_set_dt(&green_led, (color == LED_GREEN) ? 1 : 0);
    gpio_pin_set_dt(&blue_led, (color == LED_BLUE) ? 1 : 0);
}

void blink_led(enum led_color color, int duration_ms, int blink_count) {
    for (int i = 0; i < blink_count; i++) {
        set_led_status(color);
        k_sleep(K_MSEC(duration_ms));
        set_led_status(LED_OFF);
        k_sleep(K_MSEC(duration_ms));
    }
}

static K_TIMER_DEFINE(led_timer, led_timer_handler, NULL);
static K_TIMER_DEFINE(inactivity_timer, NULL, enter_low_power);
static K_TIMER_DEFINE(battery_warning_timer, battery_warning_timer_handler, NULL);
static K_TIMER_DEFINE(battery_pulse_timer, battery_pulse_timer_handler, NULL);
static K_TIMER_DEFINE(charging_pulse_timer, charging_pulse_timer_handler, NULL);

/* --- ESB and Power Management --- */
static struct esb_payload tx_payload;
static struct esb_config esb_config = ESB_DEFAULT_CONFIG;
#define ERROR_PAYLOAD_FLAG 0x80

/* --- USB HID Configuration --- */
static K_SEM_DEFINE(usb_configured_sem, 0, 1);
static volatile bool usb_configured = false;
#define REPORT_ID 1
#define KEY_CTRL_CODE_MIN 224
#define KEY_CTRL_CODE_MAX 231
#define KEY_CODE_MIN 0
#define KEY_CODE_MAX 101
#define KEY_PRESS_MAX 6
#define INPUT_REPORT_KEYS_MAX_LEN (1 + 1 + KEY_PRESS_MAX)

/* --- Hysteresis Sleep Configuration --- */
#define BASE_TIMEOUT K_SECONDS(60)
#define GRACE_PERIOD_MS 2000
static k_timeout_t current_timeout = BASE_TIMEOUT;
static int wakeup_count = 0;
static int64_t last_sleep_time = 0;

/* --- Battery Configuration --- */
#define BATTERY_CRITICAL_THRESHOLD 15
#define BATTERY_MAX_VOLTAGE 4200
#define BATTERY_MIN_VOLTAGE 3300
#define CHARGING_THRESHOLD_DELTA 50
#define FULL_CHARGE_THRESHOLD 4190
static int battery_level = 100;
static bool battery_warning_active = false;
static int pulse_count = 0;
static int64_t last_voltage_time = 0;
static uint32_t last_voltage_mv = 0;
static uint32_t max_voltage_mv = 0;
static bool is_charging = false;

/* --- Function Definitions --- */

 /* HID Report Descriptor for a standard keyboard */
 static const uint8_t hid_report_desc[] = {
     0x05, 0x01, 0x09, 0x06, 0xA1, 0x01, 0x75, 0x01,
     0x95, 0x08, 0x05, 0x07, 0x19, 0xE0, 0x29, 0xE7,
     0x15, 0x00, 0x25, 0x01, 0x81, 0x02, 0x95, 0x01,
     0x75, 0x08, 0x81, 0x01, 0x95, 0x06, 0x75, 0x08,
     0x15, 0x00, 0x25, 0x65, 0x05, 0x07, 0x19, 0x00,
     0x29, 0x65, 0x81, 0x00, 0xC0
 };

 struct usb_desc_strings {
    const uint8_t *product;
};



void led_timer_handler(struct k_timer *timer)
{
    if (!is_charging)
    {
        set_led_status(LED_OFF);
    }
}

void battery_warning_timer_handler(struct k_timer *timer)
{
    if (!is_charging && battery_warning_active)
    {
        k_timer_start(&battery_pulse_timer, K_NO_WAIT, K_NO_WAIT);
    }
}

void battery_pulse_timer_handler(struct k_timer *timer)
{
    if (pulse_count < 8 && !is_charging)
    {
        set_led_status(LED_RED);
        k_sleep(K_MSEC(500));
        set_led_status(LED_OFF);
        k_sleep(K_MSEC(500));
        pulse_count++;
    }
    else
    {
        pulse_count = 0;
        k_timer_stop(&battery_pulse_timer);
        if (battery_warning_active && !is_charging)
        {
            k_timer_start(&battery_warning_timer, K_MINUTES(5), K_NO_WAIT);
        }
    }
}

static void charging_pulse_timer_handler(struct k_timer *timer)
{
    static bool led_on = true;
    if (is_charging)
    {
        set_led_status(led_on ? LED_GREEN : LED_OFF);
        led_on = !led_on;
        k_timer_start(&charging_pulse_timer, K_MSEC(1000), K_NO_WAIT);
    }
    else
    {
        blink_led(LED_RED, 500, 3);
        k_timer_stop(&charging_pulse_timer);
        set_led_status(LED_OFF);
    }
}

void enter_low_power(struct k_timer *dummy)
{
    LOG_INF("Inactivity detected. Preparing to enter System OFF mode.");
    int retry_count = 0;
    const int max_retries = 3;
    while (retry_count < max_retries && !esb_is_idle())
    {
        LOG_INF("ESB is busy, waiting %d/%d...", retry_count + 1, max_retries);
        k_sleep(K_MSEC(20));
        retry_count++;
    }
    if (!esb_is_idle())
    {
        LOG_INF("ESB busy after %d retries", max_retries);
    }
    set_led_status(LED_BLUE);
    k_timer_start(&led_timer, K_SECONDS(4), K_NO_WAIT);
}

void update_sleep_timeout(void)
{
    int64_t now_ms = k_uptime_get();
    k_ticks_t now_ticks = k_ms_to_ticks_ceil32(now_ms);
    k_ticks_t last_ticks = k_ms_to_ticks_ceil32(last_sleep_time);
    k_ticks_t grace_ticks = k_ms_to_ticks_ceil32(GRACE_PERIOD_MS);
    if (last_sleep_time != 0 && (now_ticks - last_ticks) < grace_ticks)
    {
        wakeup_count++;
        if (wakeup_count == 1)
        {
            current_timeout = K_SECONDS(30); //original 2 minutes
            LOG_INF("Quick wakeup detected, increasing sleep timeout to 2 minutes.");
        }
        else if (wakeup_count >= 2)
        {
            current_timeout = K_SECONDS(180);
            LOG_INF("Quick wakeup detected, increasing sleep timeout to 3 minutes.");
            wakeup_count = 2;
        }
        else if (wakeup_count >= 3)
        {
            current_timeout = K_SECONDS(240);
            LOG_INF("Quick wakeup detected, increasing sleep timeout to 4 minutes.");
            wakeup_count = 3;
        }
        else if (wakeup_count >= 4)
        {
            current_timeout = K_SECONDS(300);
            LOG_INF("Quick wakeup again, capping sleep timeout at 5 minutes.");
            wakeup_count = 4;
        }
    }
    else
    {
        wakeup_count = 0;
        current_timeout = BASE_TIMEOUT;
        LOG_INF("Long inactivity or fresh start, resetting sleep timeout to 1 minute.");
    }
    last_sleep_time = now_ms;
}

void pin_activity_handler(const struct device *dev, struct gpio_callback *cb, uint32_t pins) {

    if (pins & BIT(data_plus.pin)) {
        LOG_INF("Pin activity detected P%d on DATA_PLUS, resetting inactivity timer", gpio_pin_get_dt(&data_plus));
    }
    if (pins & BIT(data_minus.pin)) {
        LOG_INF("Pin activity detected P%d on DATA_MINUS, resetting inactivity timer", gpio_pin_get_dt(&data_minus));
    }
}

// Battery monitoring
void check_battery_status(void) {
    int16_t buf;
    struct adc_sequence sequence = {
        .channels = BIT(adc_channel.channel_id),
        .buffer = &buf,
        .buffer_size = sizeof(buf),
        .resolution = BIT(adc_channel.resolution),
    };

    if (!device_is_ready(adc_channel.dev)) {
        LOG_ERR("ADC device not ready: %s", adc_channel.dev->name);
        return;
    }

    int err = adc_channel_setup_dt(&adc_channel);
    if (err < 0) {
        LOG_ERR("ADC channel setup failed (ID: %u, err: %d)", adc_channel.channel_id, err);
        return;
    }

    err = adc_sequence_init_dt(&adc_channel, &sequence);
    if (err < 0) {
        LOG_ERR("ADC sequence init failed (channel ID: %u, resolution: %u, err: %d)",
                adc_channel.channel_id, sequence.resolution, err);
        return;
    }

    err = adc_read(adc_channel.dev, &sequence);
    if (err < 0) {
        LOG_ERR("ADC read failed (channel ID: %u, buffer size: %u, err: %d)",
                adc_channel.channel_id, sequence.buffer_size, err);
        return;
    }

    uint32_t adc_value = buf;
    uint32_t voltage_mv = ((adc_value * BATTERY_MAX_VOLTAGE) * 10 / (1 << 12)); // 12-bit ADC
    battery_level = ((voltage_mv - BATTERY_MIN_VOLTAGE) * 100) / (BATTERY_MAX_VOLTAGE - BATTERY_MIN_VOLTAGE);
    if (battery_level < 0) battery_level = 0;
    if (battery_level > 100) battery_level = 100;
    LOG_INF("Battery level: %d%%, Voltage: %d mV", battery_level, voltage_mv);

    // Set LED color
    if (battery_level >= 75) {
        battery_led_color = LED_GREEN;
    } else if (battery_level >= 50) {
        battery_led_color = LED_YELLOW;
    } else if (battery_level >= 25) {
        battery_led_color = LED_ORANGE;
    } else {
        battery_led_color = LED_RED;
    }

    if (k_uptime_get() < Z_TIMEOUT_MS_TICKS(5000)) {
        LOG_INF("System just started, setting battery LED color %d", battery_led_color);
        set_led_status(battery_led_color);
        k_timer_start(&led_timer, K_SECONDS(10), K_NO_WAIT);
    }

    int64_t now_ms = k_uptime_get();
    if (now_ms - last_voltage_time >= 1000) {
        if (last_voltage_mv > 0) {
            if ((voltage_mv - last_voltage_mv) > CHARGING_THRESHOLD_DELTA) {
                is_charging = true;
                k_timer_start(&charging_pulse_timer, K_MSEC(500), K_NO_WAIT);
                battery_warning_active = false;
                k_timer_stop(&battery_warning_timer);
                k_timer_stop(&battery_pulse_timer);
                LOG_INF("Charging detected, starting %d pulse", battery_led_color);
            } else if (is_charging && voltage_mv >= FULL_CHARGE_THRESHOLD) {
                k_timer_stop(&charging_pulse_timer);
                set_led_status(LED_GREEN);
                max_voltage_mv = voltage_mv;
                LOG_INF("Full charge reached, static green");
            }
        }
        last_voltage_time = now_ms;
        last_voltage_mv = voltage_mv;
        if (voltage_mv > max_voltage_mv) {
            max_voltage_mv = voltage_mv;
        }
    }

    if (battery_level < BATTERY_CRITICAL_THRESHOLD && !is_charging && !battery_warning_active) {
        battery_warning_active = true;
        k_timer_start(&battery_warning_timer, K_NO_WAIT, K_NO_WAIT);
    }

    // Send battery level via ESB
    send_battery_level();
}

static void usb_status_cb(enum usb_dc_status_code status, const uint8_t *param)
{
    ARG_UNUSED(param);
    switch (status)
    {
    case USB_DC_CONFIGURED:
        LOG_INF("USB_DC_CONFIGURED received, setting usb_configured = true");
        usb_configured = true;
        k_sem_give(&usb_configured_sem);
        break;
    case USB_DC_DISCONNECTED:
        LOG_INF("USB_DC_DISCONNECTED received, setting usb_configured = false");
        usb_configured = false;
        break;
    default:
        break;
    }
}

void sample_and_transmit(struct esb_evt const *event) {
    static uint8_t last_payload_data[2] = {0};
    uint8_t payload_data[2] = {0}; // Example test payload
    if (payload_data[0] != last_payload_data[0] || payload_data[1] != last_payload_data[1]) {
        tx_payload.length = sizeof(payload_data);
        memcpy(tx_payload.data, payload_data, sizeof(payload_data));
        last_payload_data[0] = payload_data[0];
        last_payload_data[1] = payload_data[1];
        if (esb_write_payload(&tx_payload) == 0) {
            LOG_INF("TX -> D+: %d, D-: %d", payload_data[0], payload_data[1]);
        } else {
            LOG_ERR("ESB write payload failed");
        }
    }
}

void send_windows_key(void) {
    uint8_t hid_report[8] = {0x08, 0x00, 0x00, 0x00, 0x00, 0x00, 0x00, 0x00}; // Left GUI only
    tx_payload.length = 8;
    memcpy(tx_payload.data, hid_report, 8);
    if (esb_write_payload(&tx_payload) == 0) {
        LOG_INF("TX -> Windows key press sent");
        blink_led(LED_RED, 200, 3);
    } else {
        LOG_ERR("Failed to send Windows key press, ESB error");
    }

    k_sleep(K_MSEC(100)); // Delay to ensure key is registered

    memset(hid_report, 0, 8); // Clear all bytes for key release
    tx_payload.length = 8;
    memcpy(tx_payload.data, hid_report, 8);
    if (esb_write_payload(&tx_payload) == 0) {
        LOG_INF("TX -> Windows key release sent");
    } else {
        LOG_ERR("Failed to send Windows key release, ESB error");
    }
}
int main(void)
{
    int err;
    LOG_INF("Starting 2.4GHz HID Keyboard Transmitter");
    
    hid_dev = device_get_binding("HID_0");
    LOG_INF("USB device found and ready.");

    usb_hid_register_device(hid_dev, hid_report_desc, sizeof(hid_report_desc), NULL);
    LOG_INF("HID registered.");

    err = usb_hid_init(hid_dev);
    if (err)
    {
        LOG_ERR("Failed to init USB HID, err %d", err);
    }
    LOG_INF("HID initialized.");

    LOG_INF("Attempting to enable USB...");
    if (IS_ENABLED(CONFIG_USB_DEVICE_STACK))
    {
        err = usb_enable(NULL);
        if (err)
        {
            LOG_ERR("Failed to enable USB, err %d", err);
        }
        LOG_INF("USB enabled successfully.");
    }
   
    esb_config.protocol = ESB_PROTOCOL_ESB_DPL;
    esb_config.mode = ESB_MODE_PTX;
    esb_config.bitrate = ESB_BITRATE_2MBPS;
    esb_config.payload_length = 8;
    esb_config.retransmit_count = 3;
    esb_config.event_handler = sample_and_transmit;
    err = esb_init(&esb_config);
    if (err)
    {
        LOG_ERR("ESB initialization failed, err %d", err);
    }
    LOG_INF("Transmitter initialized successfully");

    /* Initialize GPIOs */
    if (!device_is_ready(data_plus.port) || !device_is_ready(data_minus.port))
    {
        LOG_ERR("Data GPIOs not ready");
    }
    else 
    {
        LOG_INF("Data GPIOs ready: D+ pin %d, D- pin %d", data_plus.pin, data_minus.pin);
    }
    gpio_pin_configure_dt(&data_plus, GPIO_INPUT | GPIO_PULL_UP);
    gpio_pin_configure_dt(&data_minus, GPIO_INPUT | GPIO_PULL_UP);

    /* Initialize RGB LED */
    if (!device_is_ready(red_led.port) || !device_is_ready(green_led.port) || !device_is_ready(blue_led.port))
    {
        LOG_ERR("RGB LED GPIOs not ready");
    }
    else 
    {
        LOG_INF("RGB LED GPIOs ready: Red pin %d, Green pin %d, Blue pin %d", red_led.pin, green_led.pin, blue_led.pin);
    }
    gpio_pin_configure_dt(&red_led, GPIO_OUTPUT);
    gpio_pin_configure_dt(&green_led, GPIO_OUTPUT);
    gpio_pin_configure_dt(&blue_led, GPIO_OUTPUT);

    k_timer_start(&led_timer, K_SECONDS(5), K_NO_WAIT);
    check_battery_status();

    /* Configure GPIO Interrupt for Wake-up */
    static struct gpio_callback pin_cb_data;
    gpio_init_callback(&pin_cb_data, pin_activity_handler, BIT(data_plus.pin) | BIT(data_minus.pin));
    err = gpio_add_callback(data_plus.port, &pin_cb_data);
    if (err)
    {
        LOG_ERR("Failed to add callback, err %d", err);
    }
    gpio_pin_interrupt_configure_dt(&data_plus, GPIO_INT_EDGE_BOTH);
    gpio_pin_interrupt_configure_dt(&data_minus, GPIO_INT_EDGE_BOTH);

    uint8_t base_addr_0[4] = {0xAB, 0x12, 0xCD, 0x34};
    err = esb_set_base_address_0(base_addr_0);
    if (err)
    {
        LOG_ERR("Failed to set base address 0");
    }

    uint8_t prefixes[8] = {0xA1, 0xA2, 0xA3, 0xA4, 0xA5, 0xA6, 0xA7, 0xA8};
    err = esb_set_prefixes(prefixes, 8);
    if (err)
    {
        LOG_ERR("Failed to set prefixes");
    }
    k_sleep(K_MSEC(100));
    if (!esb_is_idle()) {
        LOG_WRN("ESB not idle, flushing buffers");
        esb_flush_tx();
        esb_flush_rx();
    }
    err = esb_start_tx();
    if (err)
    {
        LOG_ERR("ESB start_tx failed: %d", err);
    }
    charging_pulse_timer_handler(&charging_pulse_timer); // Start charging pulse timer

    LOG_INF("Blinking blue LED to indicate ESB connect attempt...");
    blink_led(LED_BLUE, 500, 5);
    

    /* Send Windows key sequence (for testing) */
    send_windows_key();
    k_sleep(K_MSEC(200)); // Delay to ensure key is registered
    send_windows_key();
    LOG_INF("Windows key sequence sent");

    return 0;
}
```
